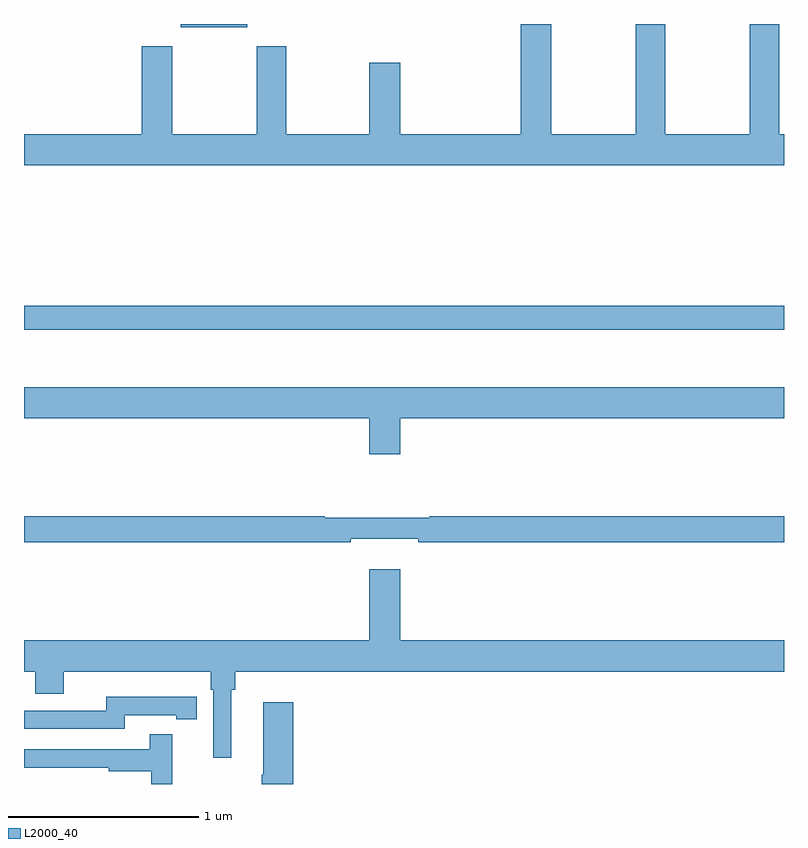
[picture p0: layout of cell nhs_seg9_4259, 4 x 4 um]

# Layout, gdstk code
import gdstk
lib = gdstk.Library(unit=1e-6, precision=1e-09)
def R(c, l, rs):  # rectangles x0, y0, x1, y1
    for r in rs: c.add(gdstk.rectangle(r[:2], r[2:], *l))
def P(c, l, *ps):  # polygons
    for p in ps: c.add(gdstk.Polygon(p, *l))
L2000_40 = (2000, 40)

nhs_seg9_4259 = lib.new_cell('nhs_seg9_4259')
R(nhs_seg9_4259, L2000_40, [(355,1192.89,359,1193.018), (355.826,1194.482,356.176,1194.5)])
P(nhs_seg9_4259, L2000_40, [(359,1193.92),(358.974,1193.92),(358.974,1194.5),(358.819,1194.5),(358.819,1193.92),(358.374,1193.92),(358.374,1194.5),(358.219,1194.5),(358.219,1193.92),(357.774,1193.92),(357.774,1194.5),(357.614,1194.5),(357.614,1193.92),(356.98,1193.92),(356.98,1194.295),(356.816,1194.295),(356.816,1193.92),(356.379,1193.92),(356.379,1194.382),(356.224,1194.382),(356.224,1193.92),(355.779,1193.92),(355.779,1194.382),(355.619,1194.382),(355.619,1193.92),(355,1193.92),(355,1193.756),(359,1193.756)],
  [(356.98,1192.424),(359,1192.424),(359,1192.588),(355,1192.588),(355,1192.424),(356.816,1192.424),(356.816,1192.236),(356.98,1192.236)],
  [(356.72,1191.791),(357.076,1191.791),(357.076,1191.772),(359,1191.772),(359,1191.908),(357.136,1191.908),(357.136,1191.901),(356.582,1191.901),(356.582,1191.908),(355,1191.908),(355,1191.772),(356.72,1191.772)],
  [(356.092,1190.996),(356.111,1190.996),(356.111,1191.092),(359,1191.092),(359,1191.256),(356.98,1191.256),(356.98,1191.631),(356.816,1191.631),(356.816,1191.256),(355,1191.256),(355,1191.092),(355.058,1191.092),(355.058,1190.975),(355.21,1190.975),(355.21,1191.092),(355.982,1191.092),(355.982,1190.996),(355.995,1190.996),(355.995,1190.637),(356.092,1190.637)],
  [(355.53,1190.862),(355.802,1190.862),(355.802,1190.842),(355.91,1190.842),(355.91,1190.958),(355.802,1190.958),(355.802,1190.959),(355.434,1190.959),(355.434,1190.886),(355,1190.886),(355,1190.79),(355.53,1190.79)],
  [(356.417,1190.929),(356.258,1190.929),(356.258,1190.549),(356.251,1190.549),(356.251,1190.5),(356.417,1190.5)],
  [(355.781,1190.761),(355.663,1190.761),(355.663,1190.682),(355,1190.682),(355,1190.586),(355.447,1190.586),(355.447,1190.566),(355.671,1190.566),(355.671,1190.5),(355.781,1190.5)])

lib.write_gds('nhs_seg9_4259.gds')
